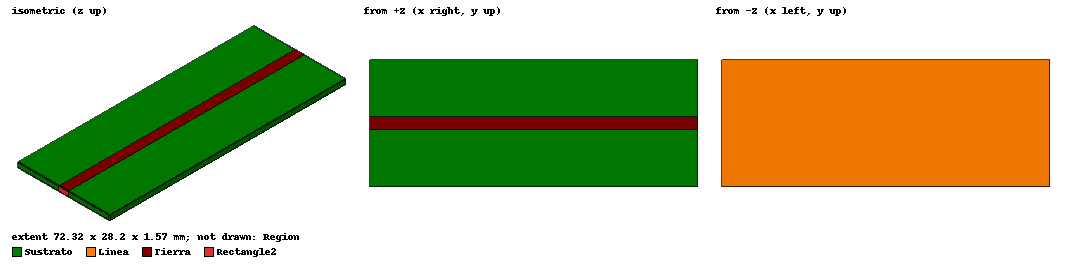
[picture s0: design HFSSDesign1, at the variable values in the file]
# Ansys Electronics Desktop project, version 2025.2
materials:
  vacuum: permittivity=1
  copper: permeability=0.999991 conductivity=58000000
  FR4_epoxy: permittivity=4.4 dielectric_loss_tangent=0.02
  air: permittivity=1.0006 permeability=1.0000004

design HFSSDesign1 (HFSS, HFSS Terminal Network, model units mm)
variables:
  L = 72.32mm
  A = 28.2mm
  E = 0.035mm
  Es = 1.5mm
  Al = 2.82mm
  W = Al
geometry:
  Linea [copper] = box(corner=(-L/2, -A/2, 0mm), size=(L, A, -E))
  Sustrato [FR4_epoxy] = box(corner=(-L/2, -A/2, 0mm), size=(L, A, Es))
  Tierra [copper] = box(corner=(-L/2, -W/2, Es), size=(L, W, E))
  Region [air] = region(percentage_offset: +X=50, -X=50, +Y=50, -Y=50, +Z=150, -Z=150)
  Rectangle1 = rectangle(corner=(-L/2, -Al/2, 0mm), y_size=Al, z_size=Es)
  Rectangle2 = rectangle(corner=(L/2, -Al/2, 0mm), y_size=Al, z_size=Es)
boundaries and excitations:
  1: Lumped Port Objects=Rectangle2 LumpedPortType=Modal Modes{Mode1{IntLine{(36.16, 0, 1.5) -> (36.16, 0, 0)} CharImp=Zpi}} Impedance=50ohm
  2: Lumped Port Objects=Rectangle1 LumpedPortType=Modal Modes{Mode1{IntLine{(-36.16, 0, 1.5) -> (-36.16, 0, 0)} CharImp=Zpi}} Impedance=50ohm
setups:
  Setup1: HfssDriven Frequency=1Hz MaxDeltaS=0.02 MaximumPasses=6 MinimumPasses=1 MinimumConvergedPasses=1 PercentRefinement=30 BasisOrder=1 PortAccuracy=2 DrivenSolverType="Direct Solver"
    sweep Sweep: 0.5GHz to 10GHz step 0.1GHz; Type=Fast SaveFields
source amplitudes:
  1:1: 1V 0deg
  2:1: 0V 0deg
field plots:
  Mag_E1: E Field over a plane on Setup1 : LastAdaptive at Freq=1e-09GHz Phase=0deg
  Mag_H1: H Field over a plane on Setup1 : LastAdaptive at Freq=1e-09GHz Phase=0deg
